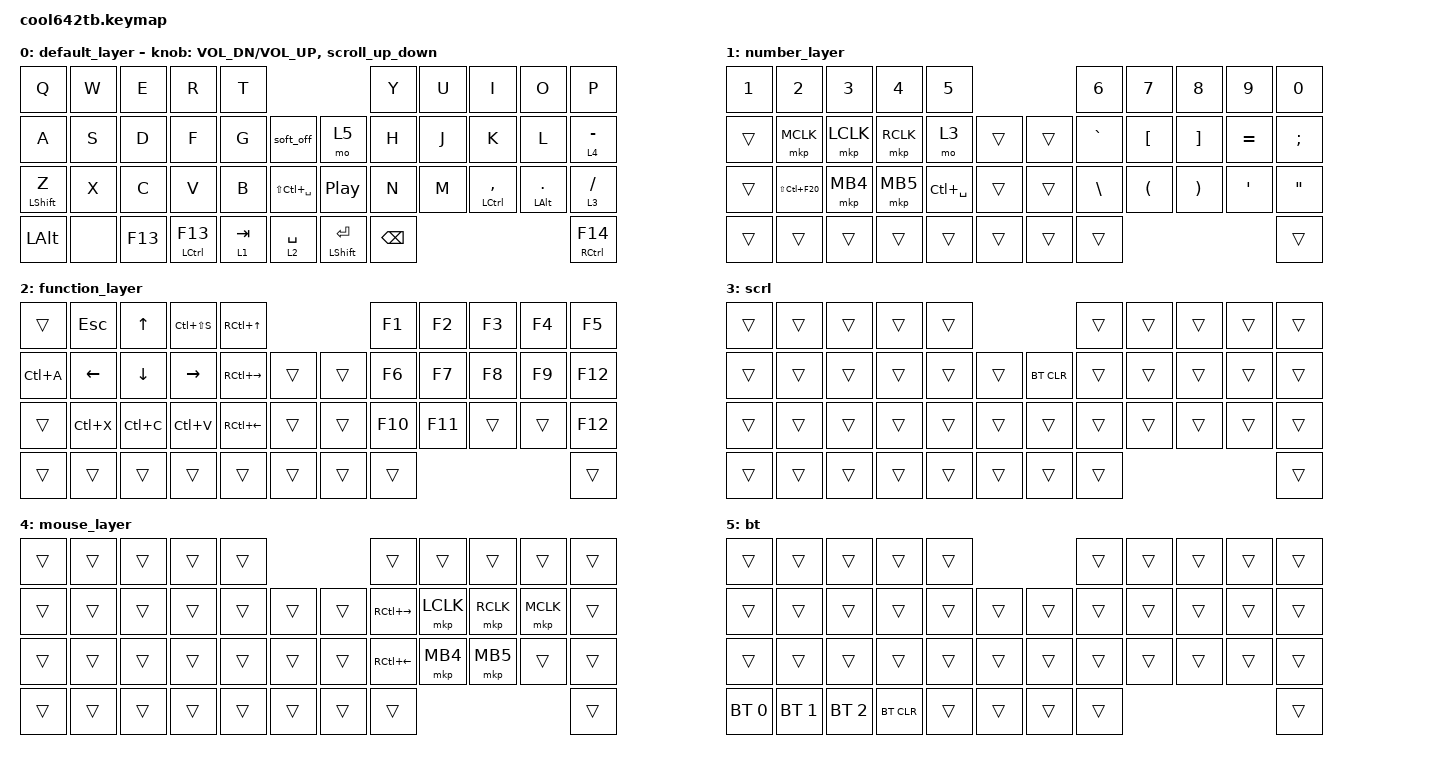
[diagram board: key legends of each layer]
#include <behaviors.dtsi>
#include <dt-bindings/zmk/bt.h>
#include <dt-bindings/zmk/keys.h>
#include <dt-bindings/zmk/pointing.h>

#define ZMK_MOUSE_DEFAULT_SCRL_VAL 100
#define MOUSE 4
#define SCROLL 5
#define NUM 6

&mt {
    flavor = "balanced";
    quick-tap-ms = <0>;
    tapping-term-ms = <150>;
};

/ {
    macros {
        to_layer_0: to_layer_0 {
            compatible = "zmk,behavior-macro-one-param";
            #binding-cells = <1>;
            bindings = <&to 0 &macro_param_1to1 &kp MACRO_PLACEHOLDER>;
            label = "TO_LAYER_0";
        };
    };

    behaviors {
        lt_to_layer_0: lt_to_layer_0 {
            compatible = "zmk,behavior-hold-tap";
            label = "LAYER_TAP_TO_0";
            bindings = <&mo>, <&to_layer_0>;

            #binding-cells = <2>;
            tapping-term-ms = <150>;
        };

        scroll_up_down: behavior_sensor_rotate_mouse_wheel_up_down {
            compatible = "zmk,behavior-sensor-rotate";
            #sensor-binding-cells = <0>;
            bindings = <&msc SCRL_UP>, <&msc SCRL_DOWN>;

            tap-ms = <20>;
        };
    };

    keymap {
        compatible = "zmk,keymap";

        default_layer {
            bindings = <
&kp Q             &kp W  &kp E    &kp R          &kp T                                               &kp Y          &kp U  &kp I                   &kp O                &kp P
&kp A             &kp S  &kp D    &kp F          &kp G      &soft_off          &mo 5                 &kp H          &kp J  &kp K                   &kp L                &lt 4 MINUS
&mt LEFT_SHIFT Z  &kp X  &kp C    &kp V          &kp B      &kp LS(LC(SPACE))  &kp C_PLAY_PAUSE      &kp N          &kp M  &mt LEFT_CONTROL COMMA  &mt LEFT_ALT PERIOD  &lt 3 SLASH
&kp LEFT_ALT      &none  &kp F13  &mt LCTRL F13  &lt 1 TAB  &lt 2 SPACE        &mt LEFT_SHIFT ENTER  &kp BACKSPACE                                                      &mt RCTRL F14
            >;

            sensor-bindings =
                <&inc_dec_kp C_VOL_DN C_VOL_UP>,
                <&scroll_up_down>;
        };

        number_layer {
            bindings = <
&kp NUMBER_1  &kp N2           &kp N3     &kp N4     &kp N5                         &kp N6         &kp N7                &kp N8                 &kp N9            &kp N0
&trans        &mkp MCLK        &mkp LCLK  &mkp RCLK  &mo 3          &trans  &trans  &kp GRAVE      &kp LEFT_BRACKET      &kp RIGHT_BRACKET      &kp EQUAL         &kp SEMICOLON
&trans        &kp LS(LC(F20))  &mkp MB4   &mkp MB5   &kp LC(SPACE)  &trans  &trans  &kp BACKSLASH  &kp LEFT_PARENTHESIS  &kp RIGHT_PARENTHESIS  &kp SINGLE_QUOTE  &kp DOUBLE_QUOTES
&trans        &trans           &trans     &trans     &trans         &trans  &trans  &trans                                                                        &trans
            >;
        };

        function_layer {
            bindings = <
&trans     &kp ESC    &kp UP_ARROW  &kp LC(LS(S))  &kp RC(UP_ARROW)                    &kp F1   &kp F2   &kp F3  &kp F4  &kp F5
&kp LC(A)  &kp LEFT   &kp DOWN      &kp RIGHT      &kp RC(RIGHT)       &trans  &trans  &kp F6   &kp F7   &kp F8  &kp F9  &kp F12
&trans     &kp LC(X)  &kp LC(C)     &kp LC(V)      &kp RC(LEFT_ARROW)  &trans  &trans  &kp F10  &kp F11  &trans  &trans  &kp F12
&trans     &trans     &trans        &trans         &trans              &trans  &trans  &trans                            &trans
            >;
        };

        scrl {
            bindings = <
&trans  &trans  &trans  &trans  &trans                      &trans  &trans  &trans  &trans  &trans
&trans  &trans  &trans  &trans  &trans  &trans  &bt BT_CLR  &trans  &trans  &trans  &trans  &trans
&trans  &trans  &trans  &trans  &trans  &trans  &trans      &trans  &trans  &trans  &trans  &trans
&trans  &trans  &trans  &trans  &trans  &trans  &trans      &trans                          &trans
            >;
        };

        mouse_layer {
            bindings = <
&trans  &trans  &trans  &trans  &trans                  &trans              &trans     &trans     &trans     &trans
&trans  &trans  &trans  &trans  &trans  &trans  &trans  &kp RC(RIGHT)       &mkp LCLK  &mkp RCLK  &mkp MCLK  &trans
&trans  &trans  &trans  &trans  &trans  &trans  &trans  &kp RC(LEFT_ARROW)  &mkp MB4   &mkp MB5   &trans     &trans
&trans  &trans  &trans  &trans  &trans  &trans  &trans  &trans                                               &trans
            >;
        };

        bt {
            bindings = <
&trans        &trans        &trans        &trans      &trans                  &trans  &trans  &trans  &trans  &trans
&trans        &trans        &trans        &trans      &trans  &trans  &trans  &trans  &trans  &trans  &trans  &trans
&trans        &trans        &trans        &trans      &trans  &trans  &trans  &trans  &trans  &trans  &trans  &trans
&bt BT_SEL 0  &bt BT_SEL 1  &bt BT_SEL 2  &bt BT_CLR  &trans  &trans  &trans  &trans                          &trans
            >;
        };
    };
};
